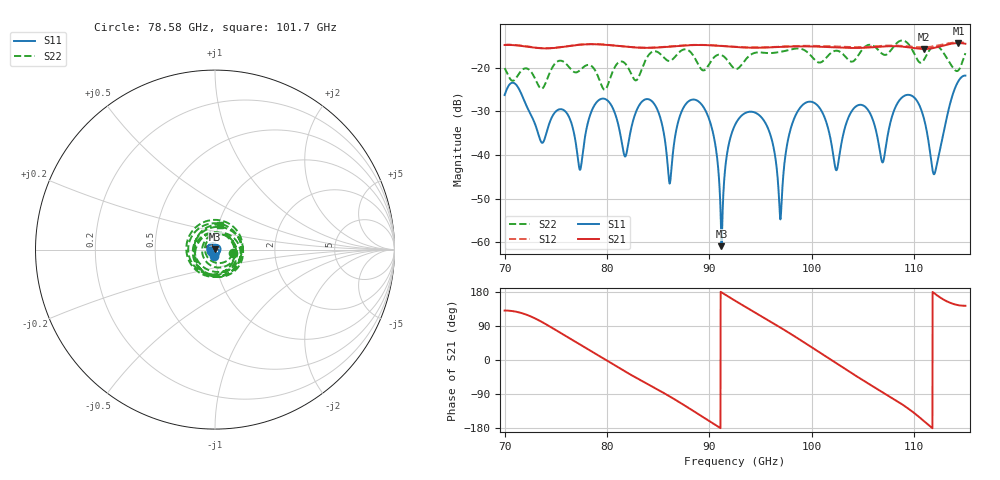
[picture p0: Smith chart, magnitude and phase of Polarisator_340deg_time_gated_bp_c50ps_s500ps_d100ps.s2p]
# Hz S RI R 1.000000
! Metas.Vna.Tools, 2.4.7898.19887
! Metas.Vna.Data, 2.4.7898.19873
! Created: UTC 2021.09.30 14:31:00
! FREQ  re:S1,1  im:S1,1  re:S2,1  im:S2,1  re:S1,2  im:S1,2  re:S2,2  im:S2,2
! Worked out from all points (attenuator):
!   2251 points, 70 GHz to 115 GHz, reference 1 ohm
!   highest |S21| = -14.39 dB at 114.3 GHz (marker M1); lowest = -15.7 dB at 111 GHz (marker M2)
!   lowest |S11| = -60.9 dB at 91.18 GHz (marker M3), VSWR 1.00, Z = 1 + j0.00178 ohm
!   |S11| at or under -10 dB: start of sweep to end of sweep
!   |S22| runs from -25.1 to -13.8 dB; largest |S21 - S12| = 0.045
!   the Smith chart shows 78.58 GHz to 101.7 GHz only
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7e10  0.0472 -0.0111  -0.1178 0.1378  -0.12 0.1376  0.094 -0.0304
7.588e10  -0.0318 -0.00287  0.0742 0.1572  0.0741 0.1578  0.077 -0.084
7.75e10  0.00793 -0.000216  0.1427 0.115  0.1434 0.1151  -0.027 0.0927
7.926e10  -0.0301 -0.0306  0.1812 0.033  0.1821 0.033  0.000478 -0.0723
8.176e10  -0.00958 -0.000817  0.1498 -0.0875  0.1509 -0.0869  0.0684 -0.0885
8.5e10  -0.0124 0.0288  0.033 -0.1666  0.0351 -0.1671  0.000805 -0.1494
8.612e10  0.00445 -0.00152  -0.0184 -0.1727  -0.0163 -0.1739  -0.0831 0.0855
8.742e10  -0.0325 -0.00984  -0.0818 -0.1588  -0.0802 -0.1607  0.1515 -0.0523
8.942e10  -0.00412 0.0351  -0.1591 -0.0867  -0.1588 -0.0887  -0.026 0.0891
9.118e10  0.000158 0.00089  -0.1766 0.00461  -0.1776 0.00306  -0.0332 -0.1351
9.25e10  -0.00619 0.0212  -0.1579 0.0683  -0.1597 0.067  -0.00957 0.0964
9.542e10  0.0103 -0.0214  -0.058 0.1593  -0.0609 0.1594  -0.0379 0.1423
9.694e10  -0.00104 0.00151  0.0135 0.1719  0.0116 0.1734  0.0412 -0.1458
9.804e10  0.0213 -0.00498  0.0675 0.1607  0.0671 0.1628  -0.1509 0.0586
1e11  -0.0111 -0.039  0.1457 0.0959  0.1481 0.0978  0.0698 -0.1135
1.0238e11  -0.00433 -0.00511  0.1681 -0.0252  0.1723 -0.0239  0.1545 0.0218
1.0436e11  -0.0215 -0.0293  0.1233 -0.1136  0.1296 -0.1127  -0.0704 0.1078
1.075e11  -0.00669 -0.0178  -0.0141 -0.1751  -0.00485 -0.1784  -0.0776 0.125
1.1098e11  -0.0177 0.0182  -0.1552 -0.0509  -0.1556 -0.0702  0.025 0.1217
1.12e11  -0.00614 -0.000189  -0.168 0.0137  -0.1755 -0.013  0.1496 -0.0955
1.1432e11  -0.0515 0.0476  -0.1554 0.1105  -0.1798 0.0741  0.0658 0.0658
1.15e11  -0.0572 0.0573  -0.1499 0.1126  -0.1763 0.0769  0.101 -0.1057
